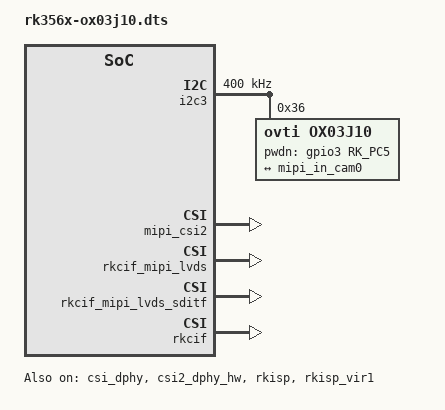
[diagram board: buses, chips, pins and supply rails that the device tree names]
/dts-v1/;
/plugin/;

#include <dt-bindings/gpio/gpio.h>
#include <dt-bindings/pinctrl/rockchip.h>
#include <dt-bindings/clock/rk3568-cru.h>


/ {
	fragment@0 {
		target = <&i2c3>;

        __overlay__ {
            status = "okay";
            clock-frequency = <400000>;

            ox03j10: ox03j10@36 {
                compatible = "ovti,ox03j10";
                status = "okay";
                reg = <0x36>;
                clocks = <&cru CLK_CIF_OUT>;
                clock-names = "xvclk";
                pwdn-gpios = <&gpio3 RK_PC5 GPIO_ACTIVE_HIGH>;
                pinctrl-names = "default";
                pinctrl-0 = <&i2c3m0_xfer>;
                rockchip,camera-module-index = <0>;
                rockchip,camera-module-facing = "back";
                rockchip,camera-module-name = "OX03J10";
                rockchip,camera-module-lens-name = "30IRC-F16";
                
                port {
                    ox03j10_out: endpoint {
                        remote-endpoint = <&mipi_in_cam0>;  // Điểm kết nối với CSI trên RK3566
                        data-lanes = <1 2>;
                    };
                };
            };
        };
	};

	fragment@1 {
        target = <&csi_dphy>;

        __overlay__ {
            status = "okay";
            
            ports {
                #address-cells = <1>;
                #size-cells = <0>;
                
                port@0 {
                    reg = <0>;
                    #address-cells = <1>;
                    #size-cells = <0>;
                    
                    mipi_in_cam0: endpoint@0 {
                        reg = <0>;
                        remote-endpoint = <&ox03j10_out>;
                        data-lanes = <1 2>;
                    };
                };
            };
        };
    };

	fragment@2 {
        target = <&csi2_dphy_hw>;

        __overlay__ {
            status = "okay";
        };
    };

    fragment@3 {
        target = <&mipi_csi2>;

        __overlay__ {
            status = "okay";
        };
    };

    fragment@4 {
        target = <&rkcif_mipi_lvds>;

        __overlay__ {
            status = "okay";
        };
    };

    fragment@5 {
        target = <&rkcif_mipi_lvds_sditf>;

        __overlay__ {
            status = "okay";
        };
    };

    fragment@6 {
        target = <&rkisp>;

        __overlay__ {
            status = "okay";
        };
    };

    fragment@7 {
        target = <&rkisp_mmu>;
        __overlay__ {
            status = "okay";
        };
    };

    fragment@8 {
        target = <&rkisp_vir1>;

        __overlay__ {
            status = "okay";
        };
    };

    fragment@9 {
        target = <&rkcif>;

        __overlay__ {
            status = "okay";
        };
    };

    fragment@10 {
        target = <&rkcif_mmu>;

        __overlay__ {
            status = "okay";
        };
    };
};
